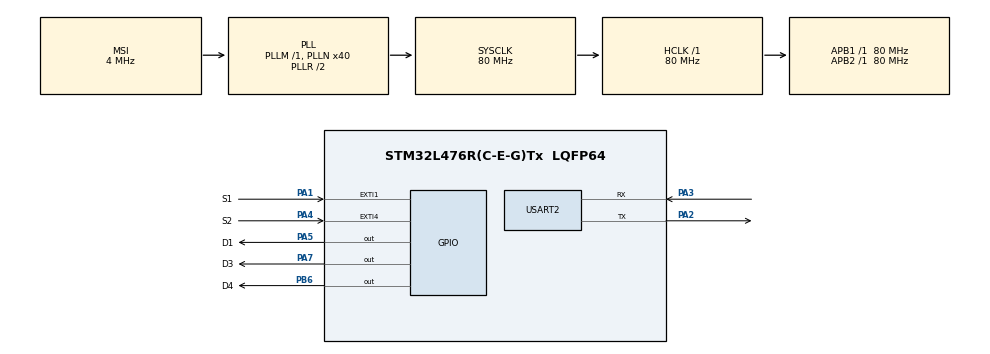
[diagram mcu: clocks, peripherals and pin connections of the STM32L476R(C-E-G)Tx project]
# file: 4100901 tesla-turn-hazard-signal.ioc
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Mcu.Family=STM32L4
Mcu.Name=STM32L476R(C-E-G)Tx
Mcu.Package=LQFP64
NVIC.EXTI1_IRQn=true\:0\:0\:false\:false\:true\:true\:true\:true
NVIC.EXTI4_IRQn=true\:0\:0\:false\:false\:true\:true\:true\:true
NVIC.PriorityGroup=NVIC_PRIORITYGROUP_4
PA1.GPIO_Label=S1
PA1.GPIO_ModeDefaultEXTI=GPIO_MODE_IT_FALLING
PA1.Signal=GPXTI1
PA2.Mode=Asynchronous
PA2.Signal=USART2_TX
PA3.Mode=Asynchronous
PA3.Signal=USART2_RX
PA4.GPIO_Label=S2
PA4.GPIO_ModeDefaultEXTI=GPIO_MODE_IT_FALLING
PA4.Signal=GPXTI4
PA5.GPIO_Label=D1
PA5.PinState=GPIO_PIN_SET
PA5.Signal=GPIO_Output
PA7.GPIO_Label=D3
PA7.PinState=GPIO_PIN_SET
PA7.Signal=GPIO_Output
PB6.GPIO_Label=D4
PB6.PinState=GPIO_PIN_SET
PB6.Signal=GPIO_Output
ProjectManager.HeapSize=0x200
ProjectManager.StackSize=0x400
ProjectManager.TargetToolchain=STM32CubeIDE
RCC.ADCFreq_Value=16000000
RCC.AHBFreq_Value=80000000
RCC.APB1Freq_Value=80000000
RCC.APB1TimFreq_Value=80000000
RCC.APB2Freq_Value=80000000
RCC.APB2TimFreq_Value=80000000
RCC.CortexFreq_Value=80000000
RCC.HCLKFreq_Value=80000000
RCC.HSE_VALUE=8000000
RCC.HSI_VALUE=16000000
RCC.LSE_VALUE=32768
RCC.MSI_VALUE=4000000
RCC.PLLN=40
RCC.SYSCLKFreq_VALUE=80000000
RCC.SYSCLKSource=RCC_SYSCLKSOURCE_PLLCLK
RCC.USBFreq_Value=16000000
RCC.VCOOutputFreq_Value=160000000
USART2.VirtualMode-Asynchronous=VM_ASYNC
board=custom

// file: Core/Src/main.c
/* USER CODE BEGIN Header */
/**
  ******************************************************************************
  * @file           : main.c
  * @brief          : Main program body
  ******************************************************************************
  * @attention
  *
  * Copyright (c) 2024 STMicroelectronics.
  * All rights reserved.
  *
  * This software is licensed under terms that can be found in the LICENSE file
  * in the root directory of this software component.
  * If no LICENSE file comes with this software, it is provided AS-IS.
  *
  ******************************************************************************
  */
/* USER CODE END Header */
#include "main.h"

UART_HandleTypeDef huart2;

/* USER CODE BEGIN PV */
uint32_t left_toggles = 0;

/* USER CODE END PV */

void SystemClock_Config(void);
static void MX_GPIO_Init(void);
static void MX_USART2_UART_Init(void);

/* USER CODE BEGIN 0 */
void HAL_GPIO_EXTI_Callback(uint16_t GPIO_Pin)
{
	if(GPIO_Pin == S1_Pin){
		HAL_UART_Transmit(&huart2, "S1\r\n",4,10);
		left_toggles = 6;
	}
}
void heartbeat(void)
{
	static uint32_t heartbeat_tick = 0;
	if(heartbeat_tick < HAL_GetTick()){
		heartbeat_tick = HAL_GetTick()+500;
	    HAL_GPIO_TogglePin(D1_GPIO_Port, D1_Pin);
	}
}
void turn_signal_left(void)
{
	static uint32_t turn_toggle_tick = 0;
	if(turn_toggle_tick < HAL_GetTick()){
		if(left_toggles > 0){
			turn_toggle_tick = HAL_GetTick()+500;
		    HAL_GPIO_TogglePin(D3_GPIO_Port, D3_Pin);
		    left_toggles--;
		}else {
			HAL_GPIO_WritePin(D3_GPIO_Port,D3_Pin,1);
		}
	}
}

/* USER CODE END 0 */

int main(void)
{

  /* MCU Configuration--------------------------------------------------------*/

  /* Reset of all peripherals, Initializes the Flash interface and the Systick. */
  HAL_Init();

  /* Configure the system clock */
  SystemClock_Config();

  /* Initialize all configured peripherals */
  MX_GPIO_Init();
  MX_USART2_UART_Init();

  /* Infinite loop */
  /* USER CODE BEGIN WHILE */
  while (1)
  {
	  heartbeat();
	  turn_signal_left();
    /* USER CODE END WHILE */

  }
}

void SystemClock_Config(void)
{
  RCC_OscInitTypeDef RCC_OscInitStruct = {0};
  RCC_ClkInitTypeDef RCC_ClkInitStruct = {0};

  /** Configure the main internal regulator output voltage
  */
  if (HAL_PWREx_ControlVoltageScaling(PWR_REGULATOR_VOLTAGE_SCALE1) != HAL_OK)
  {
    Error_Handler();
  }

  /** Initializes the RCC Oscillators according to the specified parameters
  * in the RCC_OscInitTypeDef structure.
  */
  RCC_OscInitStruct.OscillatorType = RCC_OSCILLATORTYPE_MSI;
  RCC_OscInitStruct.MSIState = RCC_MSI_ON;
  RCC_OscInitStruct.MSICalibrationValue = 0;
  RCC_OscInitStruct.MSIClockRange = RCC_MSIRANGE_6;
  RCC_OscInitStruct.PLL.PLLState = RCC_PLL_ON;
  RCC_OscInitStruct.PLL.PLLSource = RCC_PLLSOURCE_MSI;
  RCC_OscInitStruct.PLL.PLLM = 1;
  RCC_OscInitStruct.PLL.PLLN = 40;
  RCC_OscInitStruct.PLL.PLLP = RCC_PLLP_DIV7;
  RCC_OscInitStruct.PLL.PLLQ = RCC_PLLQ_DIV2;
  RCC_OscInitStruct.PLL.PLLR = RCC_PLLR_DIV2;
  if (HAL_RCC_OscConfig(&RCC_OscInitStruct) != HAL_OK)
  {
    Error_Handler();
  }

  /** Initializes the CPU, AHB and APB buses clocks
  */
  RCC_ClkInitStruct.ClockType = RCC_CLOCKTYPE_HCLK|RCC_CLOCKTYPE_SYSCLK
                              |RCC_CLOCKTYPE_PCLK1|RCC_CLOCKTYPE_PCLK2;
  RCC_ClkInitStruct.SYSCLKSource = RCC_SYSCLKSOURCE_PLLCLK;
  RCC_ClkInitStruct.AHBCLKDivider = RCC_SYSCLK_DIV1;
  RCC_ClkInitStruct.APB1CLKDivider = RCC_HCLK_DIV1;
  RCC_ClkInitStruct.APB2CLKDivider = RCC_HCLK_DIV1;

  if (HAL_RCC_ClockConfig(&RCC_ClkInitStruct, FLASH_LATENCY_4) != HAL_OK)
  {
    Error_Handler();
  }
}

static void MX_USART2_UART_Init(void)
{

  huart2.Instance = USART2;
  huart2.Init.BaudRate = 115200;
  huart2.Init.WordLength = UART_WORDLENGTH_8B;
  huart2.Init.StopBits = UART_STOPBITS_1;
  huart2.Init.Parity = UART_PARITY_NONE;
  huart2.Init.Mode = UART_MODE_TX_RX;
  huart2.Init.HwFlowCtl = UART_HWCONTROL_NONE;
  huart2.Init.OverSampling = UART_OVERSAMPLING_16;
  huart2.Init.OneBitSampling = UART_ONE_BIT_SAMPLE_DISABLE;
  huart2.AdvancedInit.AdvFeatureInit = UART_ADVFEATURE_NO_INIT;
  if (HAL_UART_Init(&huart2) != HAL_OK)
  {
    Error_Handler();
  }

}

static void MX_GPIO_Init(void)
{
  GPIO_InitTypeDef GPIO_InitStruct = {0};

  /* GPIO Ports Clock Enable */
  __HAL_RCC_GPIOA_CLK_ENABLE();
  __HAL_RCC_GPIOB_CLK_ENABLE();

  /*Configure GPIO pin Output Level */
  HAL_GPIO_WritePin(GPIOA, D1_Pin|D3_Pin, GPIO_PIN_SET);

  /*Configure GPIO pin Output Level */
  HAL_GPIO_WritePin(D4_GPIO_Port, D4_Pin, GPIO_PIN_SET);

  /*Configure GPIO pins : S1_Pin S2_Pin */
  GPIO_InitStruct.Pin = S1_Pin|S2_Pin;
  GPIO_InitStruct.Mode = GPIO_MODE_IT_FALLING;
  GPIO_InitStruct.Pull = GPIO_NOPULL;
  HAL_GPIO_Init(GPIOA, &GPIO_InitStruct);

  /*Configure GPIO pins : D1_Pin D3_Pin */
  GPIO_InitStruct.Pin = D1_Pin|D3_Pin;
  GPIO_InitStruct.Mode = GPIO_MODE_OUTPUT_PP;
  GPIO_InitStruct.Pull = GPIO_NOPULL;
  GPIO_InitStruct.Speed = GPIO_SPEED_FREQ_LOW;
  HAL_GPIO_Init(GPIOA, &GPIO_InitStruct);

  /*Configure GPIO pin : D4_Pin */
  GPIO_InitStruct.Pin = D4_Pin;
  GPIO_InitStruct.Mode = GPIO_MODE_OUTPUT_PP;
  GPIO_InitStruct.Pull = GPIO_NOPULL;
  GPIO_InitStruct.Speed = GPIO_SPEED_FREQ_LOW;
  HAL_GPIO_Init(D4_GPIO_Port, &GPIO_InitStruct);

  /* EXTI interrupt init*/
  HAL_NVIC_SetPriority(EXTI1_IRQn, 0, 0);
  HAL_NVIC_EnableIRQ(EXTI1_IRQn);

  HAL_NVIC_SetPriority(EXTI4_IRQn, 0, 0);
  HAL_NVIC_EnableIRQ(EXTI4_IRQn);

}

void Error_Handler(void)
{
  __disable_irq();
  while (1)
  {
  }
}
